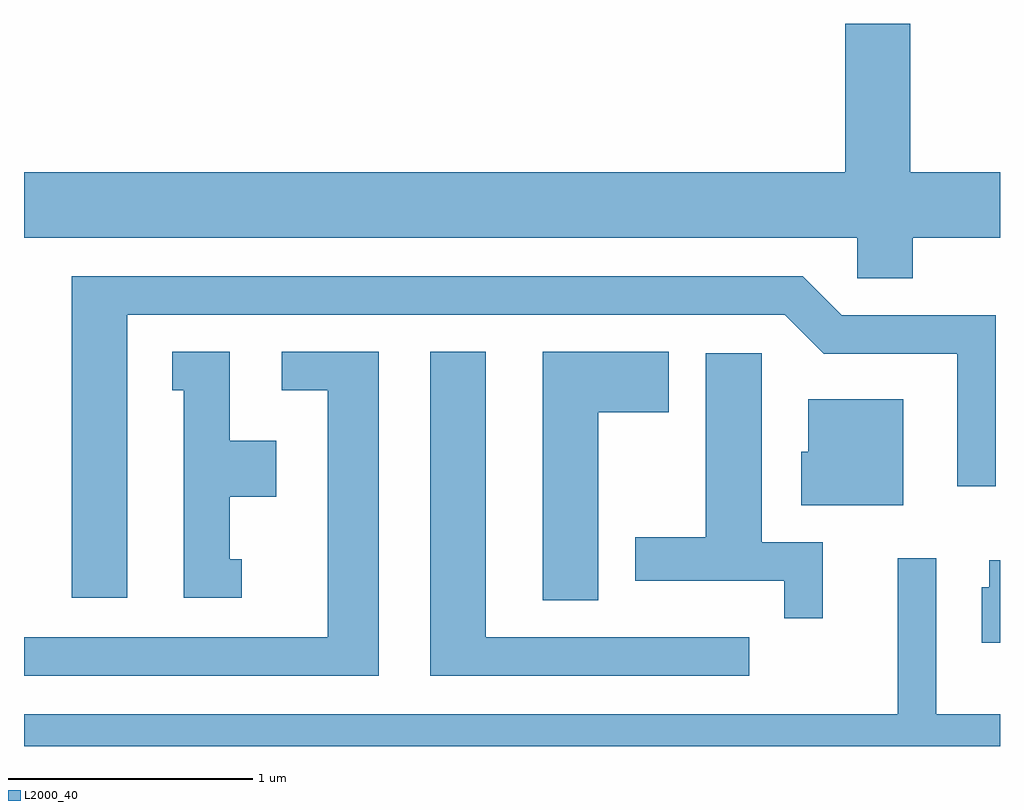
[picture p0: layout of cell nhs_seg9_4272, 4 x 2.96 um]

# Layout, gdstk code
import gdstk
lib = gdstk.Library(unit=1e-6, precision=1e-09)
def P(c, l, *ps):  # polygons
    for p in ps: c.add(gdstk.Polygon(p, *l))
L2000_40 = (2000, 40)

nhs_seg9_4272 = lib.new_cell('nhs_seg9_4272')
P(nhs_seg9_4272, L2000_40, [(315.254,1958.516),(315.611,1958.516),(315.611,1958.784),(315.244,1958.784),(315.244,1959.394),(314.976,1959.394),(314.976,1958.784),(311.611,1958.784),(311.611,1958.516),(315.026,1958.516),(315.026,1958.351),(315.254,1958.351)],
  [(312.034,1958.201),(314.729,1958.201),(314.889,1958.041),(315.436,1958.041),(315.436,1957.498),(315.594,1957.498),(315.594,1958.199),(314.962,1958.199),(314.802,1958.359),(311.806,1958.359),(311.806,1957.041),(312.034,1957.041)],
  [(313.964,1957.801),(314.254,1957.801),(314.254,1958.049),(313.736,1958.049),(313.736,1957.031),(313.964,1957.031)],
  [(312.503,1957.199),(312.454,1957.199),(312.454,1957.456),(312.644,1957.456),(312.644,1957.684),(312.454,1957.684),(312.454,1958.049),(312.218,1958.049),(312.218,1957.891),(312.266,1957.891),(312.266,1957.041),(312.503,1957.041)],
  [(314.583,1956.879),(313.504,1956.879),(313.504,1958.049),(313.276,1958.049),(313.276,1956.721),(314.583,1956.721)],
  [(313.064,1958.049),(312.668,1958.049),(312.668,1957.891),(312.856,1957.891),(312.856,1956.879),(311.611,1956.879),(311.611,1956.721),(313.064,1956.721)],
  [(314.884,1957.269),(314.634,1957.269),(314.634,1958.044),(314.406,1958.044),(314.406,1957.289),(314.116,1957.289),(314.116,1957.111),(314.726,1957.111),(314.726,1956.958),(314.884,1956.958)],
  [(315.214,1957.854),(314.826,1957.854),(314.826,1957.639),(314.796,1957.639),(314.796,1957.421),(315.214,1957.421)],
  [(315.191,1956.564),(311.611,1956.564),(311.611,1956.432),(315.611,1956.432),(315.611,1956.564),(315.349,1956.564),(315.349,1957.203),(315.191,1957.203)],
  [(315.611,1957.194),(315.566,1957.194),(315.566,1957.084),(315.536,1957.084),(315.536,1956.856),(315.611,1956.856)])

lib.write_gds('nhs_seg9_4272.gds')
